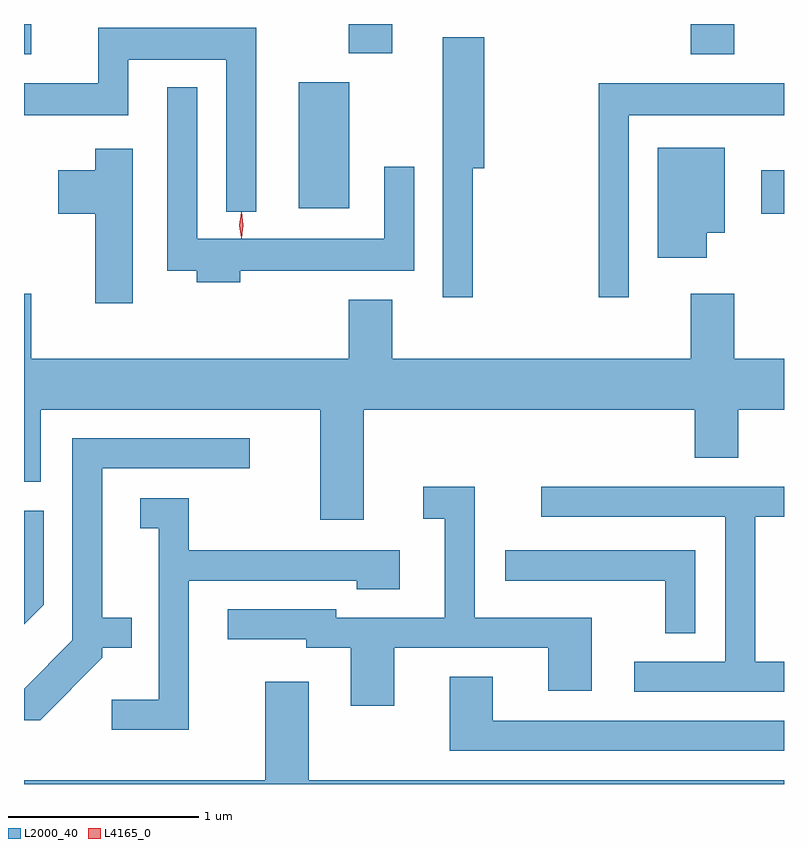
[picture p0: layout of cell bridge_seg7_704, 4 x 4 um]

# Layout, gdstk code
import gdstk
lib = gdstk.Library(unit=1e-6, precision=1e-09)
def R(c, l, rs):  # rectangles x0, y0, x1, y1
    for r in rs: c.add(gdstk.rectangle(r[:2], r[2:], *l))
def P(c, l, *ps):  # polygons
    for p in ps: c.add(gdstk.Polygon(p, *l))
L2000_40 = (2000, 40)
L4165_0 = (4165, 0)

bridge_seg7_704 = lib.new_cell('bridge_seg7_704')
R(bridge_seg7_704, L2000_40, [(565.861,1784.166,565.981,1784.394), (563.426,1784.196,563.694,1784.859), (561.981,1785.006,562.019,1785.165), (565.491,1785.006,565.719,1785.165), (563.691,1785.011,563.919,1785.165)])
P(bridge_seg7_704, L2000_40, [(563.204,1785.144),(562.371,1785.144),(562.371,1784.854),(561.981,1784.854),(561.981,1784.686),(562.529,1784.686),(562.529,1784.976),(563.046,1784.976),(563.046,1784.178),(563.204,1784.178)],
  [(564.344,1784.406),(564.404,1784.406),(564.404,1785.094),(564.186,1785.094),(564.186,1783.728),(564.344,1783.728)],
  [(565.164,1784.686),(565.981,1784.686),(565.981,1784.854),(565.006,1784.854),(565.006,1783.728),(565.164,1783.728)],
  [(563.119,1783.866),(564.034,1783.866),(564.034,1784.413),(563.876,1784.413),(563.876,1784.034),(562.894,1784.034),(562.894,1784.833),(562.736,1784.833),(562.736,1783.866),(562.891,1783.866),(562.891,1783.806),(563.119,1783.806)],
  [(565.574,1784.066),(565.669,1784.066),(565.669,1784.514),(565.316,1784.514),(565.316,1783.936),(565.574,1783.936)],
  [(562.554,1784.509),(562.356,1784.509),(562.356,1784.394),(562.161,1784.394),(562.161,1784.166),(562.356,1784.166),(562.356,1783.696),(562.554,1783.696)],
  [(563.769,1783.136),(565.511,1783.136),(565.511,1782.881),(565.739,1782.881),(565.739,1783.136),(565.981,1783.136),(565.981,1783.404),(565.719,1783.404),(565.719,1783.744),(565.491,1783.744),(565.491,1783.404),(563.919,1783.404),(563.919,1783.714),(563.691,1783.714),(563.691,1783.404),(562.019,1783.404),(562.019,1783.744),(561.981,1783.744),(561.981,1782.756),(562.069,1782.756),(562.069,1783.136),(563.541,1783.136),(563.541,1782.556),(563.769,1782.556)],
  [(562.394,1781.829),(562.394,1781.881),(562.548,1781.881),(562.548,1782.039),(562.394,1782.039),(562.394,1782.826),(563.168,1782.826),(563.168,1782.984),(562.236,1782.984),(562.236,1781.922),(561.981,1781.666),(561.981,1781.501),(562.067,1781.501)],
  [(565.981,1781.809),(565.829,1781.809),(565.829,1782.571),(565.981,1782.571),(565.981,1782.729),(564.703,1782.729),(564.703,1782.571),(565.671,1782.571),(565.671,1781.809),(565.193,1781.809),(565.193,1781.651),(565.981,1781.651)],
  [(563.929,1781.881),(564.741,1781.881),(564.741,1781.656),(564.969,1781.656),(564.969,1782.039),(564.354,1782.039),(564.354,1782.729),(564.083,1782.729),(564.083,1782.561),(564.196,1782.561),(564.196,1782.039),(563.624,1782.039),(563.624,1782.084),(563.053,1782.084),(563.053,1781.926),(563.466,1781.926),(563.466,1781.881),(563.701,1781.881),(563.701,1781.576),(563.929,1781.576)],
  [(562.849,1782.236),(563.731,1782.236),(563.731,1782.191),(563.959,1782.191),(563.959,1782.394),(562.849,1782.394),(562.849,1782.669),(562.593,1782.669),(562.593,1782.511),(562.691,1782.511),(562.691,1781.609),(562.443,1781.609),(562.443,1781.451),(562.849,1781.451)],
  [(562.084,1782.109),(562.084,1782.604),(561.981,1782.604),(561.981,1782.006)],
  [(565.514,1782.394),(564.513,1782.394),(564.513,1782.236),(565.356,1782.236),(565.356,1781.958),(565.514,1781.958)],
  [(565.981,1781.499),(564.449,1781.499),(564.449,1781.729),(564.221,1781.729),(564.221,1781.341),(565.981,1781.341)],
  [(565.981,1781.184),(563.479,1781.184),(563.479,1781.704),(563.251,1781.704),(563.251,1781.184),(561.981,1781.184),(561.981,1781.165),(565.981,1781.165)])
P(bridge_seg7_704, L4165_0, [(563.126,1784.037),(563.125,1784.038),(563.116,1784.107),(563.125,1784.176),(563.126,1784.176),(563.126,1784.176),(563.136,1784.107),(563.126,1784.038)],
  [(563.124,1784.04),(563.115,1784.106),(563.124,1784.172),(563.125,1784.173),(563.125,1784.172),(563.135,1784.106),(563.125,1784.04),(563.125,1784.04)])

lib.write_gds('bridge_seg7_704.gds')
